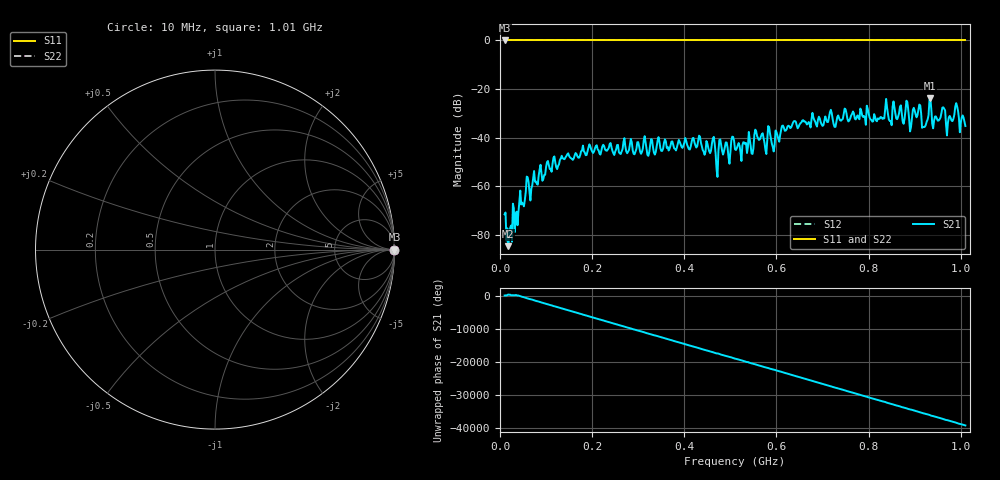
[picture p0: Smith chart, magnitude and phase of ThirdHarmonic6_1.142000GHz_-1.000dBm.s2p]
! 8/16/2025 11:14:28 AM
! C:\ANRITSUVNA\TEMP\TEMP.S2P
! CHANNEL.1
! TR.MEASUREMENT
! RAW.DATA
! RF.CORRECTION.OFF
! AVERAGING.OFF
! IF.BANDWIDTH: 5KHZ
! SWEEPTYPE:  FREQ.SWEEP(Linear)
! Reference Plane Port Info
! PORT:  PORT1  PORT2
! DISTANCE:  0  m  0  m
! TIME:  0  s  0  s
! PHASE.OFFSET:  0  deg.  0  deg.
! LOSS:  0  dB  0  dB
! REF.LOSS:  0  dB  0  dB
! REF.FREQ:  0  Hz  0  Hz
! Power Info
! POWER:  -20  dBm  -20  dBm
! EFF.POWER:  -20  dBm  -20  dBm
! SOURCE.ATTEN:  0  dB  0  dB
! TEST.ATTEN:  0  dB  0  dB
# GHZ S RI R 50.0
! FREQ.GHZ  S11RE  S11IM  S21RE  S21IM  S12RE  S12IM  S22RE  S22IM
!; PortSelection: Port_12
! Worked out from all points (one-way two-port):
!   501 points, 10 MHz to 1.01 GHz, reference 50 ohm
!   highest |S21| = -23.86 dB at 934 MHz (marker M1); lowest = -84.7 dB at 18 MHz (marker M2)
!   lowest |S11| = 0.0 dB at 10 MHz (marker M3)
!   |S11| at or under -10 dB: nowhere
!   |S22| runs from 0.0 to 0.0 dB; largest |S21 - S12| = 1
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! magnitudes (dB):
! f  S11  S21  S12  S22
! 10 MHz  0.0  -71.6  0.0  0.0
! 18 MHz  0.0  -84.7  0.0  0.0
! 60 MHz  0.0  -56.4  0.0  0.0
! 178 MHz  0.0  -45.4  0.0  0.0
! 344 MHz  0.0  -39.8  0.0  0.0
! 462 MHz  0.0  -40.4  0.0  0.0
! 470 MHz  0.0  -53.1  0.0  0.0
! 478 MHz  0.0  -40.7  0.0  0.0
! 510 MHz  0.0  -44.8  0.0  0.0
! 546 MHz  0.0  -46.6  0.0  0.0
! 556 MHz  0.0  -37.5  0.0  0.0
! 576 MHz  0.0  -45.0  0.0  0.0
! 584 MHz  0.0  -35.7  0.0  0.0
! 592 MHz  0.0  -43.8  0.0  0.0
! 678 MHz  0.0  -29.8  0.0  0.0
! 844 MHz  0.0  -32.6  0.0  0.0
! 910 MHz  0.0  -26.4  0.0  0.0
! 920 MHz  0.0  -35.7  0.0  0.0
! 934 MHz  0.0  -23.9  0.0  0.0
! 972 MHz  0.0  -34.0  0.0  0.0
! 990 MHz  0.0  -25.8  0.0  0.0
! 1.01 GHz  0.0  -35.2  0.0  0.0
